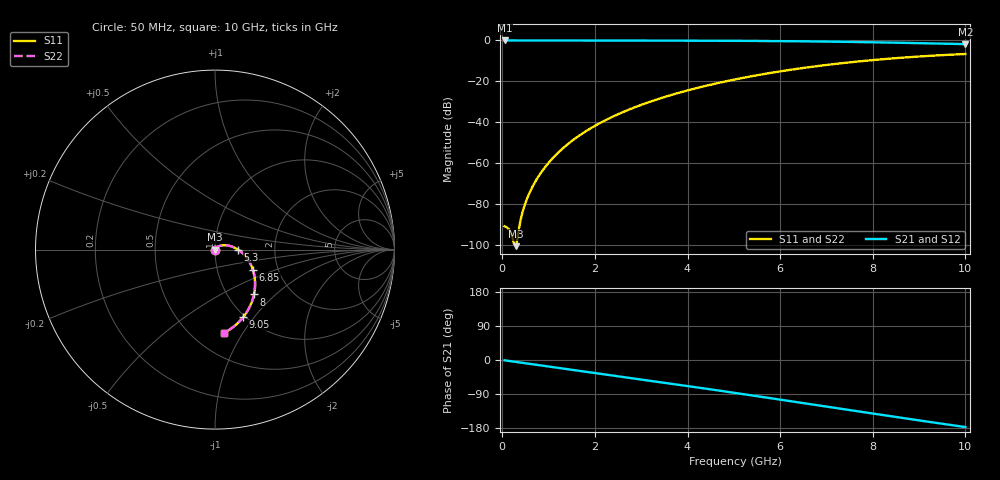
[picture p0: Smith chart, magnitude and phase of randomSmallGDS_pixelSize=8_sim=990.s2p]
! freq	dB(S11)	phase(S11)	dB(S12)	phase(S12)
!  dB(S21)	phase(S21)	dB(S22)	phase(S22)
!S-par simulation data
#  GHz  S  DB  R 50
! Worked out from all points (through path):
!   200 points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, 50 MHz to 10 GHz, reference 50 ohm
!   highest |S21| = 0.00 dB at 50 MHz (marker M1); lowest = -1.8 dB at 10 GHz (marker M2)
!   group delay of S21, straight-line fit = 49.5 ps
!   lowest |S11| = -100.7 dB at 300 MHz (marker M3), VSWR 1.00, Z = 50 + j0.0008 ohm
!   |S11| at or under -10 dB: start of sweep to 7.813 GHz
!   |S22| runs from -100.7 to -6.6 dB; largest |S21 - S12| = 0
!   S11 on the Smith chart (normalised r, x): 50 MHz: 1.00, -0.00; 5.3 GHz: 1.29, +0.00; 6.85 GHz: 1.48, -0.36; 8 GHz: 1.32, -0.74; 9.05 GHz: 0.97, -0.88; 10 GHz: 0.70, -0.83
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0.05  -90.96 -8.1  -0.00 -0.9  -0.00 -0.9  -90.96 -8.1
0.3  -100.69 60.0  -0.00 -5.1  -0.00 -5.1  -100.70 60.4
0.45  -83.00 107.2  -0.01 -7.7  -0.01 -7.7  -82.99 107.3
0.5  -79.51 105.7  -0.01 -8.5  -0.01 -8.5  -79.50 105.8
0.6  -73.97 101.7  -0.01 -10.2  -0.01 -10.2  -73.97 101.8
0.7  -69.58 97.6  -0.01 -11.9  -0.01 -11.9  -69.57 97.7
0.95  -61.25 88.8  -0.02 -16.2  -0.02 -16.2  -61.25 88.8
1.3  -52.96 78.7  -0.03 -22.1  -0.03 -22.1  -52.96 78.8
1.75  -45.22 67.9  -0.03 -29.8  -0.03 -29.8  -45.22 68.0
2.1  -40.53 60.4  -0.04 -35.7  -0.04 -35.7  -40.53 60.4
2.5  -36.10 52.2  -0.05 -42.6  -0.05 -42.6  -36.10 52.2
3.4  -28.42 35.0  -0.07 -58.1  -0.07 -58.1  -28.42 35.0
4.25  -23.01 19.3  -0.11 -73.0  -0.11 -73.0  -23.01 19.4
5.05  -18.96 4.8  -0.18 -87.3  -0.18 -87.3  -18.96 4.8
5.3  -17.86 0.2  -0.21 -91.8  -0.21 -91.8  -17.86 0.2
6  -15.13 -12.6  -0.32 -104.5  -0.32 -104.5  -15.13 -12.6
6.7  -12.85 -25.4  -0.47 -117.4  -0.47 -117.4  -12.85 -25.4
6.85  -12.41 -28.1  -0.51 -120.1  -0.51 -120.1  -12.41 -28.1
8  -9.60 -49.0  -0.88 -141.3  -0.88 -141.3  -9.60 -49.0
8.35  -8.92 -55.2  -1.02 -147.7  -1.02 -147.7  -8.92 -55.2
9.05  -7.77 -67.5  -1.34 -160.3  -1.34 -160.3  -7.77 -67.5
10  -6.63 -83.7  -1.80 -177.0  -1.80 -177.0  -6.62 -83.7
